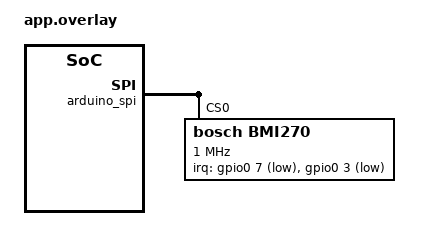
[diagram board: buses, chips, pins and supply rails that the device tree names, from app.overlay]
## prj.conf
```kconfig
CONFIG_SPI=y
CONFIG_SENSOR=y
CONFIG_NEWLIB_LIBC=y
CONFIG_NEWLIB_LIBC_FLOAT_PRINTF=y
CONFIG_BMI270_TRIGGER_OWN_THREAD=y
```

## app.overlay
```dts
/*
 * Copyright (c) 2021 Bosch Sensortec GmbH
 *
 * SPDX-License-Identifier: Apache-2.0
 */

&arduino_spi {
	status = "okay";
	bmi270@0 {
		compatible = "bosch,bmi270","bosch,bmi270-base";
		reg = <0x0 >;
		spi-max-frequency = <1000000>;
		irq-gpios = <&gpio0 7 (GPIO_PULL_UP | GPIO_ACTIVE_LOW)>,
					<&gpio0 3 (GPIO_ACTIVE_LOW)>;
	};
	// cs-gpios = <&gpio1 12 GPIO_ACTIVE_LOW>;
};

// / { aliases {
// 	intgpio0 = &interrupt_gpio0;
// 	intgpio1 = &interrupt_gpio1;
// };
// interrupt_gpios {
// 	compatible = "gpio-keys";
// 	interrupt_gpio0: interrupt_gpio_0 {
// 		gpios = <&gpio0 7 (GPIO_PULL_UP | GPIO_ACTIVE_LOW)>;
// 		label = "Interrupt GPIO 0";
// 	};
// 	interrupt_gpio1: interrupt_gpio_1 {
// 		gpios = <&gpio0 3 (GPIO_PULL_UP | GPIO_ACTIVE_LOW)>;
// 		label = "Interrupt GPIO 1";
// 	};
// };
// };
```

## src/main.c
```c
/*
 * Kazimierz Roman
 */

#include <zephyr/kernel.h>
#include <zephyr/device.h>
#include <zephyr/drivers/sensor.h>
#include <stdio.h>
#include "bmi270_api.h"
#include <../../../../drivers/sensor/bmi270/bmi270.h>

struct bmi270_feature_reg bmi270_feature_reg_anymo_1 = {
	.page = 1,
	.addr = 0x3C,
};

struct bmi270_feature_reg bmi270_feature_reg_anymo_2 = {
	.page = 1,
	.addr = 0x3E,
};
struct bmi270_feature_reg bmi270_feature_reg_nomo_1 = {
	.page = 2,
	.addr = 0x30,
};
struct bmi270_feature_reg bmi270_feature_reg_nomo_2 = {
	.page = 2,
	.addr = 0x32,
};

void anymo_trigger_handler(const struct device *dev,
						   const struct sensor_trigger *trig)
{
	struct sensor_value acc[3];
	static size_t cnt;
	int rc;
	++cnt;
	rc = sensor_sample_fetch(dev);
	if (rc != 0)
	{
		printf("sensor_sample_fetch error: %d\n", rc);
	}
	rc = sensor_channel_get(dev, SENSOR_CHAN_ACCEL_XYZ, acc);
	if (rc != 0)
	{
		printf("sensor_channel_get error: %d\n", rc);
	}
	printf("anymo trigger fired %u, AX: %d.%06d; AY: %d.%06d; AZ: %d.%06d;\n", cnt,
		   acc[0].val1, acc[0].val2, acc[1].val1, acc[1].val2, acc[2].val1, acc[2].val2);
}

void nomo_trigger_handler(const struct device *dev,
						  const struct sensor_trigger *trig)
{
	struct sensor_value acc[3];
	static size_t cnt;
	int rc;
	++cnt;
	rc = sensor_sample_fetch(dev);
	if (rc != 0)
	{
		printf("sensor_sample_fetch error: %d\n", rc);
	}
	rc = sensor_channel_get(dev, SENSOR_CHAN_ACCEL_XYZ, acc);
	if (rc != 0)
	{
		printf("sensor_channel_get error: %d\n", rc);
	}
	printf("nomo trigger fired %u, AX: %d.%06d; AY: %d.%06d; AZ: %d.%06d;\n", cnt,
		   acc[0].val1, acc[0].val2, acc[1].val1, acc[1].val2, acc[2].val1, acc[2].val2);
}

void main(void)
{
	struct sensor_trigger anymo_trig;
	// struct sensor_trigger nomo_trig;

	const struct device *const dev = DEVICE_DT_GET_ONE(bosch_bmi270);
	// struct sensor_value acc[3], gyr[3];

	int ret;
	uint16_t reg_feature_read;
	uint8_t reg_read;

	bmi270_init(dev);
	
	/* for testing/exploring purposes only one interrupt triger is recommended*/
	bmi270_config_anymotion_interrupt(dev, 0x5, 0xAA);
	// bmi270_config_nomotion_interrupt(dev, 0x5, 0x90);
	bmi270_set_anymotion_trigger(dev, anymo_trigger_handler, &anymo_trig);
	// bmi270_set_nomotion_trigger(dev, nomo_trigger_handler, &nomo_trig);

	bmi270_basic_config_acc(dev, 2, 100, 1);
	bmi270_basic_config_gyr(dev, 500, 100, 1);
	bmi270_config_adv_power_save_mode(dev, 0);

	// feature config check
	ret = bmi270_feature_reg_read(dev, &bmi270_feature_reg_anymo_1, &reg_feature_read);
	printf("ret anymo_1_read: %d\n", ret);
	printf("anymo_1_read: 0x%x\n\n", reg_feature_read);

	ret = bmi270_feature_reg_read(dev, &bmi270_feature_reg_anymo_2, &reg_feature_read);
	printf("ret anymo_2_read: %d\n", ret);
	printf("anymo_2_read: 0x%x\n\n", reg_feature_read);

	ret = bmi270_feature_reg_read(dev, &bmi270_feature_reg_nomo_1, &reg_feature_read);
	printf("ret nomo_1_read: %d\n", ret);
	printf("nomo_1_read: 0x%x\n\n", reg_feature_read);

	ret = bmi270_feature_reg_read(dev, &bmi270_feature_reg_nomo_2, &reg_feature_read);
	printf("ret nomo_2_read: %d\n", ret);
	printf("nomo_2_read: 0x%x\n\n", reg_feature_read);

	// int1_map_feat check
	ret = bmi270_reg_read(dev, BMI270_REG_INT1_MAP_FEAT, &reg_read, sizeof(reg_read));
	printf("ret int1_map_feat: %d\n", ret);
	printf("int1_map_feat: 0x%x\n\n", reg_read);

	// acc conf check
	ret = bmi270_reg_read(dev, BMI270_REG_ACC_CONF, &reg_read, sizeof(reg_read));
	printf("ret acc_conf: %d\n", ret);
	printf("acc_conf: 0x%x\n\n", reg_read);

	//int_io_ctrl check
	bmi270_reg_read(dev, BMI270_REG_INT1_IO_CTRL, &reg_read, 1);
	printf("INT1_IO_CTRL: %d\n\n", reg_read);

	bmi270_reg_read(dev, BMI270_REG_INT2_IO_CTRL, &reg_read, 1);
	printf("INT2_IO_CTRL: %d\n", reg_read);

	// fifo_config check
	bmi270_reg_read(dev, BMI270_REG_FIFO_CONFIG_0, &reg_read, 1);
	printf("FIFO_CONFIG_0: 0x%x\n", reg_read);

	bmi270_reg_read(dev, BMI270_REG_FIFO_CONFIG_1, &reg_read, 1);
	printf("FIFO_CONFIG_1: 0x%x\n", reg_read);

	while (1)
	{
		k_sleep(K_MSEC(500));
		// sensor_sample_fetch(dev);
		// sensor_channel_get(dev, SENSOR_CHAN_ACCEL_XYZ, acc);
		// sensor_channel_get(dev, SENSOR_CHAN_GYRO_XYZ, gyr);
		// printf("AX: %d.%06d; AY: %d.%06d; AZ: %d.%06d; GX: %d.%06d; GY: %d.%06d; GZ: %d.%06d;\n",
		// 	   acc[0].val1, acc[0].val2,
		// 	   acc[1].val1, acc[1].val2,
		// 	   acc[2].val1, acc[2].val2,
		// 	   gyr[0].val1, gyr[0].val2,
		// 	   gyr[1].val1, gyr[1].val2,
		// 	   gyr[2].val1, gyr[2].val2);
	}
}
```
